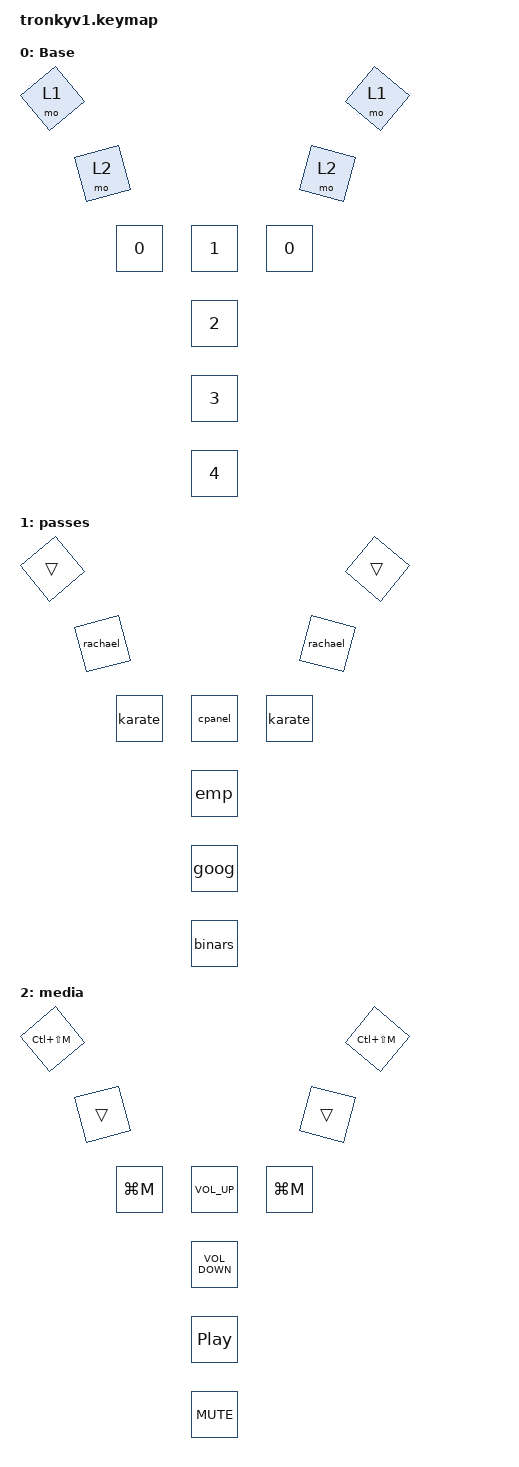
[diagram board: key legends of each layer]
#include <behaviors.dtsi>
#include <dt-bindings/zmk/keys.h>

/ {
    macros {
        binars: binars {
            compatible = "zmk,behavior-macro";
            #binding-cells = <0>;
            bindings = <&none &kp N1 &kp N1 &kp N0 &kp N0 &kp N1 &kp N0 &kp N0 &kp N1 &kp RET>;
            label = "BINARS";
        };

        goog: goog {
            compatible = "zmk,behavior-macro";
            #binding-cells = <0>;
            bindings = <&none &kp N &kp LS(D) &kp Q &kp B &kp W &kp N2 &kp LS(S) &kp N6 &kp N7 &kp N5 &kp LS(O) &kp W &kp RET>;
            label = "GOOG";
        };

        emp: emp {
            compatible = "zmk,behavior-macro";
            #binding-cells = <0>;
            bindings = <&none &kp F &kp R &kp LS(X) &kp K &kp J &kp N6 &kp COMMA &kp N7 &kp I &kp LS(D) &kp LS(R) &kp LS(A) &kp F &kp DLLR &kp RET>;
            label = "EMP";
        };

        karate: karate {
            compatible = "zmk,behavior-macro";
            #binding-cells = <0>;
            bindings = <&none &kp LS(K) &kp U &kp N &kp G &kp F &kp U &kp N4 &kp N2 &kp DLLR &kp AT &kp RET>;
            label = "KARATE";
        };

        cpanel: cpanel {
            compatible = "zmk,behavior-macro";
            #binding-cells = <0>;
            bindings = <&none &kp N0 &kp V &kp N8 &kp LS(R) &kp E &kp O &kp PRCNT &kp N2 &kp RET>;
            label = "CPANEL";
        };

        rachael: rachael {
            compatible = "zmk,behavior-macro";
            #binding-cells = <0>;
            bindings = <&none &kp LS(H) &kp R &kp A &kp K &kp A &kp N1 &kp N4 &kp N4 &kp EXCL &kp DLLR &kp DLLR &kp RET>;
            label = "RACHAEL";
        };
    };

    keymap {
        compatible = "zmk,keymap";

        default_layer {
            display-name = "Base";
            bindings = <
&mo 1  &mo 2  &kp NUMBER_0  &kp NUMBER_1  &kp NUMBER_2  &kp NUMBER_3  &kp NUMBER_4  &mo 1  &mo 2  &kp NUMBER_0
            >;
        };

        passes {
            bindings = <
&trans  &rachael  &karate  &cpanel  &emp  &goog  &binars  &trans  &rachael  &karate
            >;
        };

        media {
            bindings = <
&kp LC(LS(M))  &trans  &kp LG(M)  &kp C_VOLUME_UP  &kp C_VOLUME_DOWN  &kp C_PLAY_PAUSE  &kp C_MUTE  &kp LC(LS(M))  &trans  &kp LG(M)
            >;
        };
    };
};
